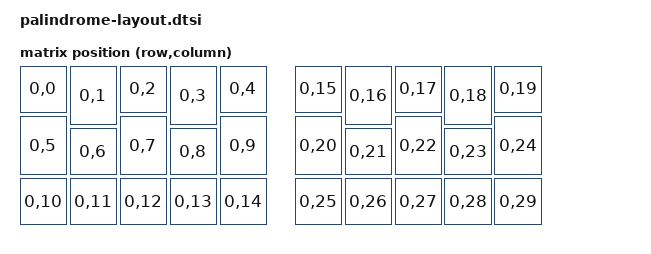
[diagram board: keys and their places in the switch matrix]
/*
 * Copyright (c) 2026 Brandon Beltran
 *
 * SPDX-License-Identifier: MIT
 */

#include <physical_layouts.dtsi>

/ {
    physical_layout0: physical_layout_0 {
        compatible = "zmk,physical-layout";
        display-name = "Default";

        // kscan = <&kscan0>;
        transform = <&swag_transform>;

	swag_transform: swag_transform {
        	compatible = "zmk,matrix-transform";
        	columns = <30>;
        	rows = <1>;
        	map = <
           	 	RC(0,0)  RC(0,1)  RC(0,2)  RC(0,3)  RC(0,4)  RC(0, 15) RC(0, 16) RC(0, 17) RC(0, 18) RC(0, 19)
            		RC(0,5)  RC(0,6)  RC(0,7)  RC(0,8)  RC(0,9)  RC(0, 20) RC(0, 21) RC(0, 22) RC(0, 23) RC(0, 24)
            		RC(0,10) RC(0,11) RC(0,12) RC(0,13) RC(0,14) RC(0, 25) RC(0, 26) RC(0, 27) RC(0, 28) RC(0, 29)
            	>;
    	};

        keys  //                     w   h    x    y     rot    rx    ry
            = <&key_physical_attrs 100 100    0    0       0     0     0>
            , <&key_physical_attrs 100 125  100    0       0     0     0>
            , <&key_physical_attrs 100 100  200    0       0     0     0>
            , <&key_physical_attrs 100 125  300    0       0     0     0>
            , <&key_physical_attrs 100 100  400    0       0     0     0>
            , <&key_physical_attrs 100 100  550    0       0     0     0>
            , <&key_physical_attrs 100 125  650    0       0     0     0>
            , <&key_physical_attrs 100 100  750    0       0     0     0>
            , <&key_physical_attrs 100 125  850    0       0     0     0>
            , <&key_physical_attrs 100 100  950    0       0     0     0>
            , <&key_physical_attrs 100 125    0  100       0     0     0>
            , <&key_physical_attrs 100 100  100  125       0     0     0>
            , <&key_physical_attrs 100 125  200  100       0     0     0>
            , <&key_physical_attrs 100 100  300  125       0     0     0>
            , <&key_physical_attrs 100 125  400  100       0     0     0>
            , <&key_physical_attrs 100 125  550  100       0     0     0>
            , <&key_physical_attrs 100 100  650  125       0     0     0>
            , <&key_physical_attrs 100 125  750  100       0     0     0>
            , <&key_physical_attrs 100 100  850  125       0     0     0>
            , <&key_physical_attrs 100 125  950  100       0     0     0>
            , <&key_physical_attrs 100 100    0  225       0     0     0>
            , <&key_physical_attrs 100 100  100  225       0     0     0>
            , <&key_physical_attrs 100 100  200  225       0     0     0>
            , <&key_physical_attrs 100 100  300  225       0     0     0>
            , <&key_physical_attrs 100 100  400  225       0     0     0>
            , <&key_physical_attrs 100 100  550  225       0     0     0>
            , <&key_physical_attrs 100 100  650  225       0     0     0>
            , <&key_physical_attrs 100 100  750  225       0     0     0>
            , <&key_physical_attrs 100 100  850  225       0     0     0>
            , <&key_physical_attrs 100 100  950  225       0     0     0>
            ;
    };
};
